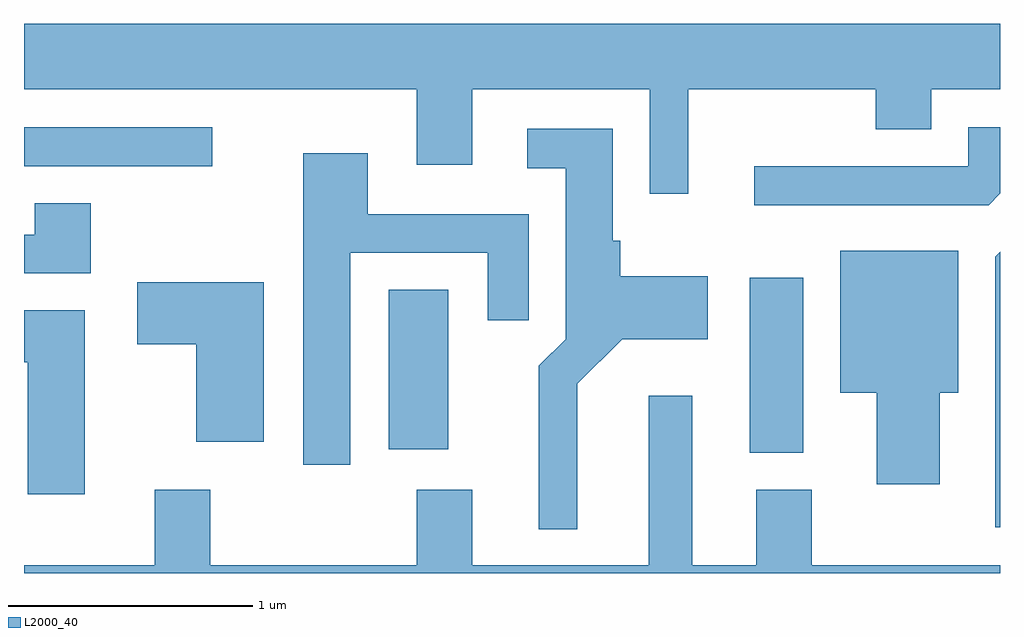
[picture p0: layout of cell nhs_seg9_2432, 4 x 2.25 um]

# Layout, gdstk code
import gdstk
lib = gdstk.Library(unit=1e-6, precision=1e-09)
def R(c, l, rs):  # rectangles x0, y0, x1, y1
    for r in rs: c.add(gdstk.rectangle(r[:2], r[2:], *l))
def P(c, l, *ps):  # polygons
    for p in ps: c.add(gdstk.Polygon(p, *l))
L2000_40 = (2000, 40)

nhs_seg9_2432 = lib.new_cell('nhs_seg9_2432')
R(nhs_seg9_2432, L2000_40, [(258.586,2056.926,258.804,2057.644), (257.106,2056.941,257.349,2057.594), (255.611,2058.101,256.383,2058.259)])
P(nhs_seg9_2432, L2000_40, [(258.334,2058.416),(259.101,2058.416),(259.101,2058.251),(259.329,2058.251),(259.329,2058.416),(259.611,2058.416),(259.611,2058.684),(255.611,2058.684),(255.611,2058.416),(257.221,2058.416),(257.221,2058.106),(257.449,2058.106),(257.449,2058.416),(258.176,2058.416),(258.176,2057.988),(258.334,2057.988)],
  [(259.611,2057.989),(259.611,2058.259),(259.481,2058.259),(259.481,2058.099),(258.603,2058.099),(258.603,2057.941),(259.564,2057.941)],
  [(257.879,2057.209),(258.062,2057.391),(258.414,2057.391),(258.414,2057.649),(258.054,2057.649),(258.054,2057.794),(258.024,2057.794),(258.024,2058.254),(257.673,2058.254),(257.673,2058.091),(257.831,2058.091),(257.831,2057.392),(257.721,2057.282),(257.721,2056.613),(257.879,2056.613)],
  [(256.949,2057.746),(257.511,2057.746),(257.511,2057.468),(257.679,2057.468),(257.679,2057.904),(257.019,2057.904),(257.019,2058.154),(256.756,2058.154),(256.756,2056.876),(256.949,2056.876)],
  [(255.884,2057.949),(255.656,2057.949),(255.656,2057.819),(255.611,2057.819),(255.611,2057.661),(255.884,2057.661)],
  [(259.364,2057.171),(259.439,2057.171),(259.439,2057.754),(258.956,2057.754),(258.956,2057.171),(259.106,2057.171),(259.106,2056.796),(259.364,2056.796)],
  [(259.611,2057.749),(259.591,2057.729),(259.591,2056.621),(259.611,2056.621)],
  [(256.594,2057.624),(256.076,2057.624),(256.076,2057.371),(256.316,2057.371),(256.316,2056.971),(256.594,2056.971)],
  [(255.859,2057.509),(255.611,2057.509),(255.611,2057.296),(255.626,2057.296),(255.626,2056.756),(255.859,2056.756)],
  [(259.611,2056.464),(258.839,2056.464),(258.839,2056.774),(258.611,2056.774),(258.611,2056.464),(258.349,2056.464),(258.349,2057.159),(258.171,2057.159),(258.171,2056.464),(257.449,2056.464),(257.449,2056.774),(257.221,2056.774),(257.221,2056.464),(256.374,2056.464),(256.374,2056.774),(256.146,2056.774),(256.146,2056.464),(255.611,2056.464),(255.611,2056.432),(259.611,2056.432)])

lib.write_gds('nhs_seg9_2432.gds')
